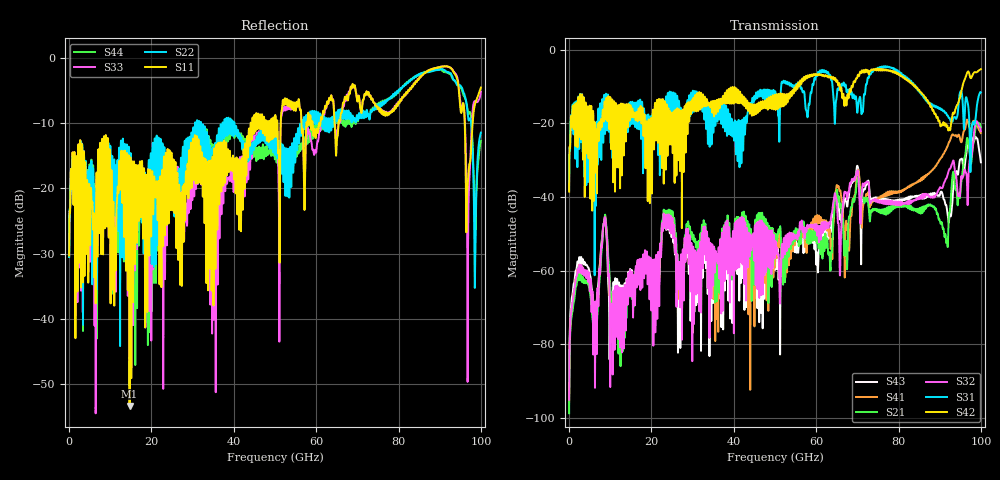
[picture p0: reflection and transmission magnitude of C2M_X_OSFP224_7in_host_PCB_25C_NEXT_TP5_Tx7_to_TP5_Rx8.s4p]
# GHz S RI R 45
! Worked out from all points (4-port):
!   4000 points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, 25 MHz to 100 GHz, reference 45 ohm
!   strongest paths, dB at 25 MHz, 25.02 GHz, 50.02 GHz, 75.03 GHz, 100 GHz:
!     S42: -38.6, -17.9, -12.9, -5.2, -5.3
!     S31: -38.3, -14.7, -11.4, -4.9, -11.6
!     S32: -95.0, -46.7, -54.2, -41.1, -22.1
!     S21: -98.7, -44.7, -55.0, -43.7, -21.1
!     S41: -95.7, -46.9, -59.1, -40.5, -22.7
!     S43: -93.4, -49.5, -58.7, -40.3, -30.6
!   lowest |S11| = -53.3 dB at 14.7 GHz (marker M1), VSWR 1.00, Z = 45.2 + j0.0644 ohm
!   |S11| at or under -10 dB: start of sweep to 44.11 GHz; 59.15 GHz to 61.04 GHz (1.886 GHz wide, 3.14 % of centre); 96.08 GHz to 98 GHz (1.927 GHz wide, 1.99 % of centre) (the widest 3 of 23)
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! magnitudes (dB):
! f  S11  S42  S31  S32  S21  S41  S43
! 25 MHz  -30.3  -38.6  -38.3  -95.0  -98.7  -95.7  -93.4
! 6.375 GHz  -26.8  -27.6  -26.8  -75.1  -80.9  -75.8  -71.4
! 8.7 GHz  -21.8  -14.3  -18.8  -45.4  -45.1  -45.3  -45.6
! 10.4 GHz  -18.8  -14.7  -15.9  -69.1  -68.6  -79.2  -65.8
! 14.7 GHz  -53.3  -19.3  -20.9  -65.6  -63.9  -62.4  -61.7
! 91.58 GHz  -1.3  -20.9  -17.3  -35.0  -52.3  -27.0  -42.2
! 100 GHz  -4.6  -5.3  -11.6  -22.1  -21.1  -22.7  -30.6
